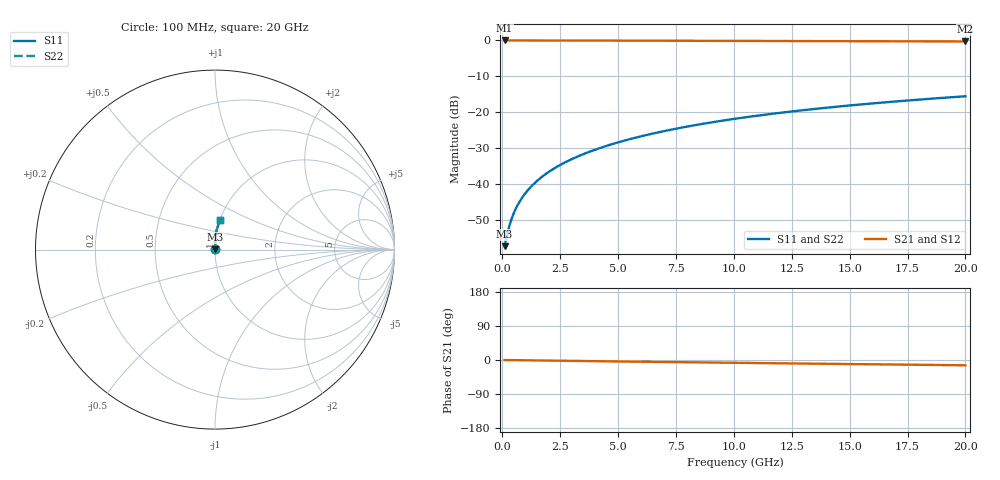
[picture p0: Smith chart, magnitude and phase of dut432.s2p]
! Touchstone file exported from HFSS 2024.1.0
!  File:  C:/UserFiles/LocalFiles/RDL_TSV_Batchsim/temp_RDL_top_432_1779676429.aedt
!  Generated:  10:36:21 AM May 25, 2026
!  Design:  RDL_top
!  Project:  temp_RDL_top_432_1779676429
!  Setup:  Setup1
!  Solution:  Sweep
! Variables:
!  dtsv = 10.80580581um
!  hbump = 3um
!  htsv = 56.24um
!  ldown = 100um
!  lrdl = 150.76um
!  p = 40
!  p1 = 53.84um
!  rhole = 1um
!  t = 450um
!  tdown = 3.915915916um
!  trdl = 2.8um
!  wdown = 15.38538539um
!  wrdl = 22.99um
# GHz S MA R 50.000000
! Terminal data exported
! Port[1] = Box2_T1
! Port[2] = Box2_T2
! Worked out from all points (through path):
!   200 points, 100 MHz to 20 GHz, reference 50 ohm
!   highest |S21| = -0.01 dB at 100 MHz (marker M1); lowest = -0.3 dB at 20 GHz (marker M2)
!   group delay of S21, straight-line fit = 1.92 ps
!   lowest |S11| = -57.2 dB at 100 MHz (marker M3), VSWR 1.00, Z = 50.1 + j0.0792 ohm
!   |S11| at or under -10 dB: start of sweep to end of sweep
!   |S22| runs from -57.2 to -15.5 dB; largest |S21 - S12| = 3.3e-15
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0.1  0.001378 35.0  0.9989 -0.1  0.9989 -0.1  0.001378 35.0
! Gamma 0 0 0 0
! Port Impedance 50 0 50 0
0.2  0.001948 53.5  0.9988 -0.2  0.9988 -0.2  0.001948 53.5
0.3  0.002612 62.7  0.9988 -0.2  0.9988 -0.2  0.002612 62.7
0.4  0.0033 68.1  0.9987 -0.3  0.9987 -0.3  0.0033 68.1
0.5  0.003995 71.6  0.9987 -0.4  0.9987 -0.4  0.003995 71.6
0.6  0.004693 74.2  0.9986 -0.5  0.9986 -0.5  0.004693 74.2
0.8  0.006101 77.8  0.9985 -0.6  0.9985 -0.6  0.006101 77.8
1.1  0.00824 81.1  0.9983 -0.9  0.9983 -0.9  0.00824 81.1
1.3  0.009681 82.5  0.9982 -1.0  0.9982 -1.0  0.009681 82.5
1.6  0.01186 84.2  0.998 -1.3  0.998 -1.3  0.01186 84.2
2.1  0.01556 86.0  0.9975 -1.7  0.9975 -1.7  0.01556 86.0
2.7  0.02007 87.3  0.9969 -2.1  0.9969 -2.1  0.02007 87.3
3.5  0.02623 88.4  0.9959 -2.7  0.9959 -2.7  0.02623 88.4
4.2  0.03176 88.9  0.9949 -3.3  0.9949 -3.3  0.03176 88.9
5  0.03823 89.2  0.9936 -3.9  0.9936 -3.9  0.03823 89.2
5.9  0.04568 89.3  0.992 -4.5  0.992 -4.5  0.04568 89.3
6.8  0.05327 89.1  0.9905 -5.2  0.9905 -5.2  0.05327 89.1
8.4  0.06703 88.5  0.9876 -6.3  0.9876 -6.3  0.06703 88.5
10.1  0.08185 87.4  0.9845 -7.4  0.9845 -7.4  0.08185 87.4
13.4  0.1107 85.0  0.9787 -9.7  0.9787 -9.7  0.1107 85.0
16.7  0.1393 82.4  0.9728 -11.8  0.9728 -11.8  0.1393 82.4
20  0.1673 79.9  0.9667 -14.0  0.9667 -14.0  0.1673 79.9
